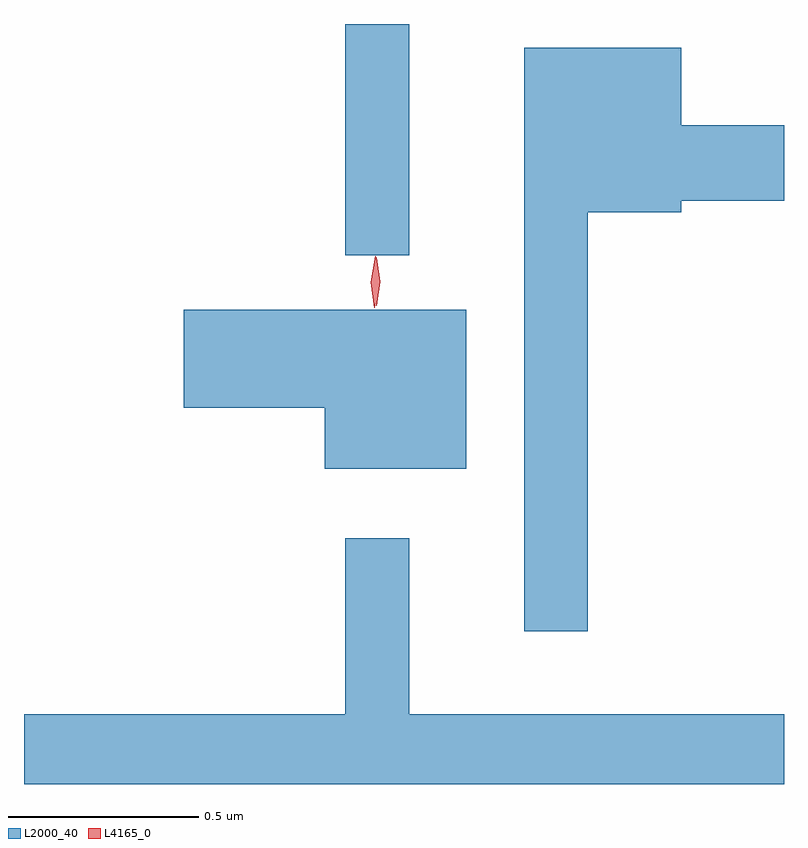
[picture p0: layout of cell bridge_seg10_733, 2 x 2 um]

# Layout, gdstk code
import gdstk
lib = gdstk.Library(unit=1e-6, precision=1e-09)
def R(c, l, rs):  # rectangles x0, y0, x1, y1
    for r in rs: c.add(gdstk.rectangle(r[:2], r[2:], *l))
def P(c, l, *ps):  # polygons
    for p in ps: c.add(gdstk.Polygon(p, *l))
L2000_40 = (2000, 40)
L4165_0 = (4165, 0)

bridge_seg10_733 = lib.new_cell('bridge_seg10_733')
R(bridge_seg10_733, L2000_40, [(1008.631,2126.493,1008.799,2127.101)])
P(bridge_seg10_733, L2000_40, [(1009.269,2126.606),(1009.514,2126.606),(1009.514,2126.636),(1009.785,2126.636),(1009.785,2126.834),(1009.514,2126.834),(1009.514,2127.039),(1009.101,2127.039),(1009.101,2125.503),(1009.269,2125.503)],
  [(1008.949,2126.349),(1008.206,2126.349),(1008.206,2126.091),(1008.576,2126.091),(1008.576,2125.931),(1008.949,2125.931)],
  [(1009.785,2125.284),(1008.799,2125.284),(1008.799,2125.748),(1008.631,2125.748),(1008.631,2125.284),(1007.785,2125.284),(1007.785,2125.101),(1009.785,2125.101)])
P(bridge_seg10_733, L4165_0, [(1008.712,2126.36),(1008.712,2126.36),(1008.702,2126.423),(1008.712,2126.486),(1008.712,2126.487),(1008.713,2126.486),(1008.722,2126.423),(1008.713,2126.36)],
  [(1008.707,2126.354),(1008.698,2126.422),(1008.709,2126.49),(1008.709,2126.49),(1008.71,2126.49),(1008.718,2126.422),(1008.708,2126.354),(1008.708,2126.354)])

lib.write_gds('bridge_seg10_733.gds')
